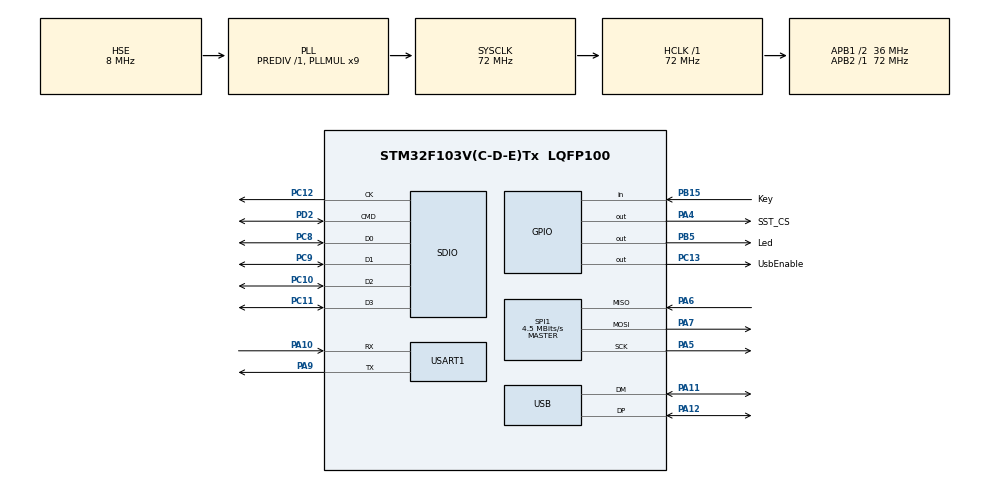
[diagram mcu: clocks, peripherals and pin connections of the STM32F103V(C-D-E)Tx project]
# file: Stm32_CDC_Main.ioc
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Mcu.Family=STM32F1
Mcu.Name=STM32F103V(C-D-E)Tx
Mcu.Package=LQFP100
NVIC.PriorityGroup=NVIC_PRIORITYGROUP_4
NVIC.TIM1_UP_IRQn=true\:0\:0\:false\:false\:true\:false\:true
NVIC.TimeBase=TIM1_UP_IRQn
NVIC.TimeBaseIP=TIM1
NVIC.USB_LP_CAN1_RX0_IRQn=true\:0\:0\:false\:false\:true\:false\:true
OSC_IN.Mode=HSE-External-Oscillator
OSC_IN.Signal=RCC_OSC_IN
OSC_OUT.Mode=HSE-External-Oscillator
OSC_OUT.Signal=RCC_OSC_OUT
PA10.Mode=Asynchronous
PA10.Signal=USART1_RX
PA11.Mode=Device
PA11.Signal=USB_DM
PA12.Mode=Device
PA12.Signal=USB_DP
PA13.Mode=JTAG_5_pins
PA13.Signal=SYS_JTMS-SWDIO
PA14.Mode=JTAG_5_pins
PA14.Signal=SYS_JTCK-SWCLK
PA15.Mode=JTAG_5_pins
PA15.Signal=SYS_JTDI
PA4.GPIO_Label=SST_CS
PA4.GPIO_Speed=GPIO_SPEED_FREQ_HIGH
PA4.Signal=GPIO_Output
PA5.Mode=Full_Duplex_Master
PA5.Signal=SPI1_SCK
PA6.Mode=Full_Duplex_Master
PA6.Signal=SPI1_MISO
PA7.Mode=Full_Duplex_Master
PA7.Signal=SPI1_MOSI
PA9.Mode=Asynchronous
PA9.Signal=USART1_TX
PB15.GPIO_Label=Key
PB15.Signal=GPIO_Input
PB3.Mode=JTAG_5_pins
PB3.Signal=SYS_JTDO-TRACESWO
PB4.Mode=JTAG_5_pins
PB4.Signal=SYS_NJTRST
PB5.GPIO_Label=Led
PB5.Signal=GPIO_Output
PC10.Mode=SD_4_bits_Wide_bus
PC10.Signal=SDIO_D2
PC11.Mode=SD_4_bits_Wide_bus
PC11.Signal=SDIO_D3
PC12.Mode=SD_4_bits_Wide_bus
PC12.Signal=SDIO_CK
PC13-TAMPER-RTC.GPIO_Label=UsbEnable
PC13-TAMPER-RTC.Signal=GPIO_Output
PC14-OSC32_IN.Mode=LSE-External-Oscillator
PC14-OSC32_IN.Signal=RCC_OSC32_IN
PC15-OSC32_OUT.Mode=LSE-External-Oscillator
PC15-OSC32_OUT.Signal=RCC_OSC32_OUT
PC8.Mode=SD_4_bits_Wide_bus
PC8.Signal=SDIO_D0
PC9.Mode=SD_4_bits_Wide_bus
PC9.Signal=SDIO_D1
PD2.Mode=SD_4_bits_Wide_bus
PD2.Signal=SDIO_CMD
ProjectManager.HeapSize=0x2000
ProjectManager.StackSize=0x4000
ProjectManager.TargetToolchain=MDK-ARM V5
RCC.AHBFreq_Value=72000000
RCC.APB1CLKDivider=RCC_HCLK_DIV2
RCC.APB1Freq_Value=36000000
RCC.APB1TimFreq_Value=72000000
RCC.APB2Freq_Value=72000000
RCC.APB2TimFreq_Value=72000000
RCC.HCLKFreq_Value=72000000
RCC.PLLMUL=RCC_PLL_MUL9
RCC.PLLSourceVirtual=RCC_PLLSOURCE_HSE
RCC.SYSCLKFreq_VALUE=72000000
RCC.SYSCLKSource=RCC_SYSCLKSOURCE_PLLCLK
RCC.USBFreq_Value=48000000
RCC.USBPrescaler=RCC_USBCLKSOURCE_PLL_DIV1_5
SDIO.ClockDiv=4
SPI1.BaudRatePrescaler=SPI_BAUDRATEPRESCALER_16
SPI1.CLKPhase=SPI_PHASE_2EDGE
SPI1.CLKPolarity=SPI_POLARITY_HIGH
SPI1.CalculateBaudRate=4.5 MBits/s
SPI1.Direction=SPI_DIRECTION_2LINES
SPI1.Mode=SPI_MODE_MASTER
SPI1.VirtualType=VM_MASTER
USART1.VirtualMode=VM_ASYNC
USB_DEVICE.CLASS_NAME_FS=CDC
USB_DEVICE.VirtualMode=Cdc
USB_DEVICE.VirtualModeFS=Cdc_FS
VP_SYS_VS_tim1.Mode=TIM1
VP_USB_DEVICE_VS_USB_DEVICE_CDC_FS.Mode=CDC_FS
board=custom

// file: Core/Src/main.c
/* USER CODE BEGIN Header */
/**
  ******************************************************************************
  * @file           : main.c
  * @brief          : Main program body
  ******************************************************************************
  * @attention
  *
  * <h2><center>&copy; Copyright (c) 2019 STMicroelectronics.
  * All rights reserved.</center></h2>
  *
  * This software component is licensed by ST under Ultimate Liberty license
  * SLA0044, the "License"; You may not use this file except in compliance with
  * the License. You may obtain a copy of the License at:
  *                             www.st.com/SLA0044
  *
  ******************************************************************************
  */
/* USER CODE END Header */

#include "main.h"
#include "sdio.h"
#include "spi.h"
#include "usart.h"
#include "usb_device.h"
#include "gpio.h"

/* USER CODE BEGIN Includes */
#include "eeprom.h"
/* USER CODE END Includes */

void SystemClock_Config(void);

int main(void)
{
  /* USER CODE BEGIN 1 */
  pFunction JumpToApplication;
  uint32_t JumpAddress;
  /* USER CODE END 1 */

  /* MCU Configuration--------------------------------------------------------*/

  /* Reset of all peripherals, Initializes the Flash interface and the Systick. */
  HAL_Init();

  /* Configure the system clock */
  SystemClock_Config();

  /* Initialize all configured peripherals */
  MX_GPIO_Init();
  MX_SPI1_Init();
  MX_USART1_UART_Init();
  /* USER CODE BEGIN 2 */
	HAL_Delay(2000);
  if (!EEPROMIsValid()) {
	    uartprintf("EEPROM is invalid\r\n");
		  return -1;
	}

	if (IAP_GotoBackup()) {
		uartprintf("Jump to backup\r\n");
		uint32_t first = *(__IO uint32_t *) APP_DEFAULT_ADD;
		uartprintf("First word %x\r\n", first);
	  if (((*(__IO uint32_t *) APP_DEFAULT_ADD) & 0x2FFE0000) ==
        0x20000000)
    {
			uartprintf("Jump execute\r\n");
      /* Jump to user application */
      JumpAddress = *(__IO uint32_t *) (APP_DEFAULT_ADD + 4);
      JumpToApplication = (pFunction) JumpAddress;

      /* Initialize user application's Stack Pointer */
      __set_MSP(*(__IO uint32_t *) APP_DEFAULT_ADD);
      JumpToApplication();
    }
	}

  uartprintf("Running main task\r\n");
  /* USER CODE END 2 */
  MX_USB_DEVICE_Init();
  MX_SDIO_SD_Init();
  /* Infinite loop */
  while (1)
  {

  }
}

void SystemClock_Config(void)
{
  RCC_OscInitTypeDef RCC_OscInitStruct = {0};
  RCC_ClkInitTypeDef RCC_ClkInitStruct = {0};
  RCC_PeriphCLKInitTypeDef PeriphClkInit = {0};

  /** Initializes the CPU, AHB and APB busses clocks
  */
  RCC_OscInitStruct.OscillatorType = RCC_OSCILLATORTYPE_HSE;
  RCC_OscInitStruct.HSEState = RCC_HSE_ON;
  RCC_OscInitStruct.HSEPredivValue = RCC_HSE_PREDIV_DIV1;
  RCC_OscInitStruct.HSIState = RCC_HSI_ON;
  RCC_OscInitStruct.PLL.PLLState = RCC_PLL_ON;
  RCC_OscInitStruct.PLL.PLLSource = RCC_PLLSOURCE_HSE;
  RCC_OscInitStruct.PLL.PLLMUL = RCC_PLL_MUL9;
  if (HAL_RCC_OscConfig(&RCC_OscInitStruct) != HAL_OK)
  {
    Error_Handler();
  }
  /** Initializes the CPU, AHB and APB busses clocks
  */
  RCC_ClkInitStruct.ClockType = RCC_CLOCKTYPE_HCLK|RCC_CLOCKTYPE_SYSCLK
                              |RCC_CLOCKTYPE_PCLK1|RCC_CLOCKTYPE_PCLK2;
  RCC_ClkInitStruct.SYSCLKSource = RCC_SYSCLKSOURCE_PLLCLK;
  RCC_ClkInitStruct.AHBCLKDivider = RCC_SYSCLK_DIV1;
  RCC_ClkInitStruct.APB1CLKDivider = RCC_HCLK_DIV2;
  RCC_ClkInitStruct.APB2CLKDivider = RCC_HCLK_DIV1;

  if (HAL_RCC_ClockConfig(&RCC_ClkInitStruct, FLASH_LATENCY_2) != HAL_OK)
  {
    Error_Handler();
  }
  PeriphClkInit.PeriphClockSelection = RCC_PERIPHCLK_USB;
  PeriphClkInit.UsbClockSelection = RCC_USBCLKSOURCE_PLL_DIV1_5;
  if (HAL_RCCEx_PeriphCLKConfig(&PeriphClkInit) != HAL_OK)
  {
    Error_Handler();
  }
}

void HAL_TIM_PeriodElapsedCallback(TIM_HandleTypeDef *htim)
{
  if (htim->Instance == TIM1) {
    HAL_IncTick();
  }
}

void Error_Handler(void)
{
}

/************************ (C) COPYRIGHT STMicroelectronics *****END OF FILE****/
